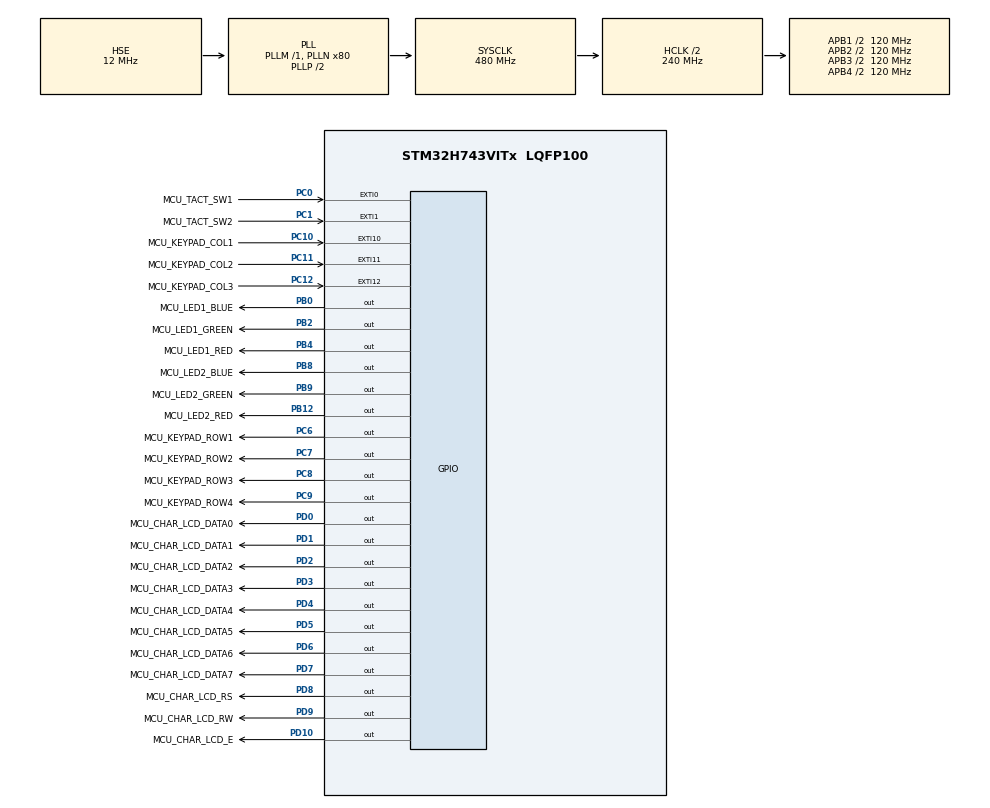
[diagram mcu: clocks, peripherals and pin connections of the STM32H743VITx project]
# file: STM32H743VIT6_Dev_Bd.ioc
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Mcu.Family=STM32H7
Mcu.Name=STM32H743VITx
Mcu.Package=LQFP100
NVIC.EXTI0_IRQn=true\:0\:0\:false\:false\:true\:true\:true\:true
NVIC.EXTI15_10_IRQn=true\:0\:0\:false\:false\:true\:true\:true\:true
NVIC.EXTI1_IRQn=true\:0\:0\:false\:false\:true\:true\:true\:true
NVIC.PriorityGroup=NVIC_PRIORITYGROUP_4
NVIC.TIM6_DAC_IRQn=true\:0\:0\:false\:false\:true\:true\:true\:true
PA13\ (JTMS/SWDIO).Mode=Serial_Wire
PA13\ (JTMS/SWDIO).Signal=DEBUG_JTMS-SWDIO
PA14\ (JTCK/SWCLK).Mode=Serial_Wire
PA14\ (JTCK/SWCLK).Signal=DEBUG_JTCK-SWCLK
PB0.GPIO_Label=MCU_LED1_BLUE
PB0.PinState=GPIO_PIN_SET
PB0.Signal=GPIO_Output
PB12.GPIO_Label=MCU_LED2_RED
PB12.PinState=GPIO_PIN_SET
PB12.Signal=GPIO_Output
PB2.GPIO_Label=MCU_LED1_GREEN
PB2.PinState=GPIO_PIN_SET
PB2.Signal=GPIO_Output
PB4\ (NJTRST).GPIO_Label=MCU_LED1_RED
PB4\ (NJTRST).PinState=GPIO_PIN_SET
PB4\ (NJTRST).Signal=GPIO_Output
PB8.GPIO_Label=MCU_LED2_BLUE
PB8.PinState=GPIO_PIN_SET
PB8.Signal=GPIO_Output
PB9.GPIO_Label=MCU_LED2_GREEN
PB9.PinState=GPIO_PIN_SET
PB9.Signal=GPIO_Output
PC0.GPIO_Label=MCU_TACT_SW1
PC0.GPIO_ModeDefaultEXTI=GPIO_MODE_IT_FALLING
PC0.GPIO_PuPd=GPIO_NOPULL
PC0.Signal=GPXTI0
PC1.GPIO_Label=MCU_TACT_SW2
PC1.GPIO_ModeDefaultEXTI=GPIO_MODE_IT_FALLING
PC1.GPIO_PuPd=GPIO_NOPULL
PC1.Signal=GPXTI1
PC10.GPIO_Label=MCU_KEYPAD_COL1
PC10.GPIO_ModeDefaultEXTI=GPIO_MODE_IT_FALLING
PC10.GPIO_PuPd=GPIO_PULLUP
PC10.Signal=GPXTI10
PC11.GPIO_Label=MCU_KEYPAD_COL2
PC11.GPIO_ModeDefaultEXTI=GPIO_MODE_IT_FALLING
PC11.GPIO_PuPd=GPIO_PULLUP
PC11.Signal=GPXTI11
PC12.GPIO_Label=MCU_KEYPAD_COL3
PC12.GPIO_ModeDefaultEXTI=GPIO_MODE_IT_FALLING
PC12.GPIO_PuPd=GPIO_PULLUP
PC12.Signal=GPXTI12
PC14-OSC32_IN\ (OSC32_IN).Mode=LSE-External-Clock-Source
PC14-OSC32_IN\ (OSC32_IN).Signal=RCC_OSC32_IN
PC6.GPIO_Label=MCU_KEYPAD_ROW1
PC6.PinState=GPIO_PIN_SET
PC6.Signal=GPIO_Output
PC7.GPIO_Label=MCU_KEYPAD_ROW2
PC7.PinState=GPIO_PIN_SET
PC7.Signal=GPIO_Output
PC8.GPIO_Label=MCU_KEYPAD_ROW3
PC8.PinState=GPIO_PIN_SET
PC8.Signal=GPIO_Output
PC9.GPIO_Label=MCU_KEYPAD_ROW4
PC9.PinState=GPIO_PIN_SET
PC9.Signal=GPIO_Output
PD0.GPIO_Label=MCU_CHAR_LCD_DATA0
PD0.Signal=GPIO_Output
PD1.GPIO_Label=MCU_CHAR_LCD_DATA1
PD1.Signal=GPIO_Output
PD10.GPIO_Label=MCU_CHAR_LCD_E
PD10.Signal=GPIO_Output
PD2.GPIO_Label=MCU_CHAR_LCD_DATA2
PD2.Signal=GPIO_Output
PD3.GPIO_Label=MCU_CHAR_LCD_DATA3
PD3.Signal=GPIO_Output
PD4.GPIO_Label=MCU_CHAR_LCD_DATA4
PD4.Signal=GPIO_Output
PD5.GPIO_Label=MCU_CHAR_LCD_DATA5
PD5.Signal=GPIO_Output
PD6.GPIO_Label=MCU_CHAR_LCD_DATA6
PD6.Signal=GPIO_Output
PD7.GPIO_Label=MCU_CHAR_LCD_DATA7
PD7.Signal=GPIO_Output
PD8.GPIO_Label=MCU_CHAR_LCD_RS
PD8.Signal=GPIO_Output
PD9.GPIO_Label=MCU_CHAR_LCD_RW
PD9.Signal=GPIO_Output
PH0-OSC_IN\ (PH0).Mode=HSE-External-Clock-Source
PH0-OSC_IN\ (PH0).Signal=RCC_OSC_IN
ProjectManager.HeapSize=0x200
ProjectManager.StackSize=0x400
ProjectManager.TargetToolchain=STM32CubeIDE
RCC.ADCFreq_Value=24187500
RCC.APB1Freq_Value=120000000
RCC.APB2Freq_Value=120000000
RCC.APB3Freq_Value=120000000
RCC.APB4Freq_Value=120000000
RCC.CortexFreq_Value=480000000
RCC.D1PPRE=RCC_APB3_DIV2
RCC.D2PPRE1=RCC_APB1_DIV2
RCC.D2PPRE2=RCC_APB2_DIV2
RCC.D3PPRE=RCC_APB4_DIV2
RCC.DIVM1=1
RCC.DIVN1=80
RCC.HCLKFreq_Value=240000000
RCC.HPRE=RCC_HCLK_DIV2
RCC.HSE_VALUE=12000000
RCC.PLLFRACN=0
RCC.PLLSourceVirtual=RCC_PLLSOURCE_HSE
RCC.SYSCLKFreq_VALUE=480000000
RCC.SYSCLKSource=RCC_SYSCLKSOURCE_PLLCLK
RCC.USBFreq_Value=480000000
TIM1.Period=65535
TIM1.Prescaler=(240-1)
TIM6.Period=(10000-1)
TIM6.Prescaler=(120-1)
VP_TIM1_VS_ClockSourceINT.Mode=Internal
VP_TIM6_VS_ClockSourceINT.Mode=Enable_Timer
board=custom

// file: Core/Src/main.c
/* USER CODE BEGIN Header */
/**
  ******************************************************************************
  * @file           : main.c
  * @brief          : Main program body
  ******************************************************************************
  * @attention
  *
  * Copyright (c) 2024 STMicroelectronics.
  * All rights reserved.
  *
  * This software is licensed under terms that can be found in the LICENSE file
  * in the root directory of this software component.
  * If no LICENSE file comes with this software, it is provided AS-IS.
  *
  ******************************************************************************
  */
/* USER CODE END Header */
#include "main.h"

TIM_HandleTypeDef htim1;
TIM_HandleTypeDef htim6;

/* USER CODE BEGIN PV */
uint8_t str1[] = "Live like Woong";
uint8_t str2[] = "     by Minjung";

extern uint8_t Keypad_value;
extern uint8_t Keypad_read_enable;
extern uint8_t Keypad_Data[32];
/* USER CODE END PV */

void SystemClock_Config(void);
static void MX_GPIO_Init(void);
static void MX_TIM1_Init(void);
static void MX_TIM6_Init(void);
/* USER CODE BEGIN PFP */
void Delay_us(uint16_t time_us);
/* USER CODE END PFP */

int main(void)
{

  /* MCU Configuration--------------------------------------------------------*/

  /* Reset of all peripherals, Initializes the Flash interface and the Systick. */
  HAL_Init();

  /* Configure the system clock */
  SystemClock_Config();

  /* Initialize all configured peripherals */
  MX_GPIO_Init();
  MX_TIM1_Init();
  MX_TIM6_Init();
  /* USER CODE BEGIN 2 */
	HAL_TIM_Base_Start(&htim1);
	HAL_TIM_Base_Start_IT(&htim6);

	HAL_GPIO_WritePin(MCU_KEYPAD_ROW1_GPIO_Port, MCU_KEYPAD_ROW1_Pin, LOW);

	HAL_Delay(10);
	Initialize_LCD();
	HAL_Delay(100);

	memset(Keypad_Data, 0x20, sizeof(Keypad_Data));

  /* USER CODE END 2 */

  /* Infinite loop */
  while (1)
  {

    /* USER CODE BEGIN 3 */
//	LCD_String(0x80, str1);
//	HAL_Delay(10);
//	LCD_String(0xC0, str2);
//	HAL_Delay(200);

//	LCD_Cursor(1,1);
//	LCD_Data(Keypad_value);
//	HAL_Delay(100);

	  for(int i = 0; i < 32; i++)
	  {
		  if(i < 16)
		  {
			  LCD_Cursor(1,i+1);
			  LCD_Data(Keypad_Data[i]);
			  HAL_Delay(1);
		  }
		  else
		  {
			  LCD_Cursor(2,i-15);
			  LCD_Data(Keypad_Data[i]);
			  HAL_Delay(1);
		  }
	  }

	  HAL_Delay(10);
  }
  /* USER CODE END 3 */
}

void SystemClock_Config(void)
{
  RCC_OscInitTypeDef RCC_OscInitStruct = {0};
  RCC_ClkInitTypeDef RCC_ClkInitStruct = {0};

  /** Supply configuration update enable
  */
  HAL_PWREx_ConfigSupply(PWR_LDO_SUPPLY);

  /** Configure the main internal regulator output voltage
  */
  __HAL_PWR_VOLTAGESCALING_CONFIG(PWR_REGULATOR_VOLTAGE_SCALE1);

  while(!__HAL_PWR_GET_FLAG(PWR_FLAG_VOSRDY)) {}

  __HAL_RCC_SYSCFG_CLK_ENABLE();
  __HAL_PWR_VOLTAGESCALING_CONFIG(PWR_REGULATOR_VOLTAGE_SCALE0);

  while(!__HAL_PWR_GET_FLAG(PWR_FLAG_VOSRDY)) {}

  /** Initializes the RCC Oscillators according to the specified parameters
  * in the RCC_OscInitTypeDef structure.
  */
  RCC_OscInitStruct.OscillatorType = RCC_OSCILLATORTYPE_HSE;
  RCC_OscInitStruct.HSEState = RCC_HSE_BYPASS;
  RCC_OscInitStruct.PLL.PLLState = RCC_PLL_ON;
  RCC_OscInitStruct.PLL.PLLSource = RCC_PLLSOURCE_HSE;
  RCC_OscInitStruct.PLL.PLLM = 1;
  RCC_OscInitStruct.PLL.PLLN = 80;
  RCC_OscInitStruct.PLL.PLLP = 2;
  RCC_OscInitStruct.PLL.PLLQ = 2;
  RCC_OscInitStruct.PLL.PLLR = 2;
  RCC_OscInitStruct.PLL.PLLRGE = RCC_PLL1VCIRANGE_3;
  RCC_OscInitStruct.PLL.PLLVCOSEL = RCC_PLL1VCOWIDE;
  RCC_OscInitStruct.PLL.PLLFRACN = 0;
  if (HAL_RCC_OscConfig(&RCC_OscInitStruct) != HAL_OK)
  {
    Error_Handler();
  }

  /** Initializes the CPU, AHB and APB buses clocks
  */
  RCC_ClkInitStruct.ClockType = RCC_CLOCKTYPE_HCLK|RCC_CLOCKTYPE_SYSCLK
                              |RCC_CLOCKTYPE_PCLK1|RCC_CLOCKTYPE_PCLK2
                              |RCC_CLOCKTYPE_D3PCLK1|RCC_CLOCKTYPE_D1PCLK1;
  RCC_ClkInitStruct.SYSCLKSource = RCC_SYSCLKSOURCE_PLLCLK;
  RCC_ClkInitStruct.SYSCLKDivider = RCC_SYSCLK_DIV1;
  RCC_ClkInitStruct.AHBCLKDivider = RCC_HCLK_DIV2;
  RCC_ClkInitStruct.APB3CLKDivider = RCC_APB3_DIV2;
  RCC_ClkInitStruct.APB1CLKDivider = RCC_APB1_DIV2;
  RCC_ClkInitStruct.APB2CLKDivider = RCC_APB2_DIV2;
  RCC_ClkInitStruct.APB4CLKDivider = RCC_APB4_DIV2;

  if (HAL_RCC_ClockConfig(&RCC_ClkInitStruct, FLASH_LATENCY_4) != HAL_OK)
  {
    Error_Handler();
  }
}

static void MX_TIM1_Init(void)
{

  TIM_ClockConfigTypeDef sClockSourceConfig = {0};
  TIM_MasterConfigTypeDef sMasterConfig = {0};

  htim1.Instance = TIM1;
  htim1.Init.Prescaler = (240-1);
  htim1.Init.CounterMode = TIM_COUNTERMODE_UP;
  htim1.Init.Period = 65535;
  htim1.Init.ClockDivision = TIM_CLOCKDIVISION_DIV1;
  htim1.Init.RepetitionCounter = 0;
  htim1.Init.AutoReloadPreload = TIM_AUTORELOAD_PRELOAD_DISABLE;
  if (HAL_TIM_Base_Init(&htim1) != HAL_OK)
  {
    Error_Handler();
  }
  sClockSourceConfig.ClockSource = TIM_CLOCKSOURCE_INTERNAL;
  if (HAL_TIM_ConfigClockSource(&htim1, &sClockSourceConfig) != HAL_OK)
  {
    Error_Handler();
  }
  sMasterConfig.MasterOutputTrigger = TIM_TRGO_RESET;
  sMasterConfig.MasterOutputTrigger2 = TIM_TRGO2_RESET;
  sMasterConfig.MasterSlaveMode = TIM_MASTERSLAVEMODE_DISABLE;
  if (HAL_TIMEx_MasterConfigSynchronization(&htim1, &sMasterConfig) != HAL_OK)
  {
    Error_Handler();
  }

}

static void MX_TIM6_Init(void)
{

  TIM_MasterConfigTypeDef sMasterConfig = {0};

  htim6.Instance = TIM6;
  htim6.Init.Prescaler = (120-1);
  htim6.Init.CounterMode = TIM_COUNTERMODE_UP;
  htim6.Init.Period = (10000-1);
  htim6.Init.AutoReloadPreload = TIM_AUTORELOAD_PRELOAD_DISABLE;
  if (HAL_TIM_Base_Init(&htim6) != HAL_OK)
  {
    Error_Handler();
  }
  sMasterConfig.MasterOutputTrigger = TIM_TRGO_RESET;
  sMasterConfig.MasterSlaveMode = TIM_MASTERSLAVEMODE_DISABLE;
  if (HAL_TIMEx_MasterConfigSynchronization(&htim6, &sMasterConfig) != HAL_OK)
  {
    Error_Handler();
  }

}

static void MX_GPIO_Init(void)
{
  GPIO_InitTypeDef GPIO_InitStruct = {0};

  /* GPIO Ports Clock Enable */
  __HAL_RCC_GPIOC_CLK_ENABLE();
  __HAL_RCC_GPIOH_CLK_ENABLE();
  __HAL_RCC_GPIOB_CLK_ENABLE();
  __HAL_RCC_GPIOD_CLK_ENABLE();
  __HAL_RCC_GPIOA_CLK_ENABLE();

  /*Configure GPIO pin Output Level */
  HAL_GPIO_WritePin(GPIOB, MCU_LED1_BLUE_Pin|MCU_LED1_GREEN_Pin|MCU_LED2_RED_Pin|MCU_LED1_RED_Pin
                          |MCU_LED2_BLUE_Pin|MCU_LED2_GREEN_Pin, GPIO_PIN_SET);

  /*Configure GPIO pin Output Level */
  HAL_GPIO_WritePin(GPIOD, MCU_CHAR_LCD_RS_Pin|MCU_CHAR_LCD_RW_Pin|MCU_CHAR_LCD_E_Pin|MCU_CHAR_LCD_DATA0_Pin
                          |MCU_CHAR_LCD_DATA1_Pin|MCU_CHAR_LCD_DATA2_Pin|MCU_CHAR_LCD_DATA3_Pin|MCU_CHAR_LCD_DATA4_Pin
                          |MCU_CHAR_LCD_DATA5_Pin|MCU_CHAR_LCD_DATA6_Pin|MCU_CHAR_LCD_DATA7_Pin, GPIO_PIN_RESET);

  /*Configure GPIO pin Output Level */
  HAL_GPIO_WritePin(GPIOC, MCU_KEYPAD_ROW1_Pin|MCU_KEYPAD_ROW2_Pin|MCU_KEYPAD_ROW3_Pin|MCU_KEYPAD_ROW4_Pin, GPIO_PIN_SET);

  /*Configure GPIO pins : MCU_TACT_SW1_Pin MCU_TACT_SW2_Pin */
  GPIO_InitStruct.Pin = MCU_TACT_SW1_Pin|MCU_TACT_SW2_Pin;
  GPIO_InitStruct.Mode = GPIO_MODE_IT_FALLING;
  GPIO_InitStruct.Pull = GPIO_NOPULL;
  HAL_GPIO_Init(GPIOC, &GPIO_InitStruct);

  /*Configure GPIO pins : MCU_LED1_BLUE_Pin MCU_LED1_GREEN_Pin MCU_LED2_RED_Pin MCU_LED1_RED_Pin
                           MCU_LED2_BLUE_Pin MCU_LED2_GREEN_Pin */
  GPIO_InitStruct.Pin = MCU_LED1_BLUE_Pin|MCU_LED1_GREEN_Pin|MCU_LED2_RED_Pin|MCU_LED1_RED_Pin
                          |MCU_LED2_BLUE_Pin|MCU_LED2_GREEN_Pin;
  GPIO_InitStruct.Mode = GPIO_MODE_OUTPUT_PP;
  GPIO_InitStruct.Pull = GPIO_NOPULL;
  GPIO_InitStruct.Speed = GPIO_SPEED_FREQ_LOW;
  HAL_GPIO_Init(GPIOB, &GPIO_InitStruct);

  /*Configure GPIO pins : MCU_CHAR_LCD_RS_Pin MCU_CHAR_LCD_RW_Pin MCU_CHAR_LCD_E_Pin MCU_CHAR_LCD_DATA0_Pin
                           MCU_CHAR_LCD_DATA1_Pin MCU_CHAR_LCD_DATA2_Pin MCU_CHAR_LCD_DATA3_Pin MCU_CHAR_LCD_DATA4_Pin
                           MCU_CHAR_LCD_DATA5_Pin MCU_CHAR_LCD_DATA6_Pin MCU_CHAR_LCD_DATA7_Pin */
  GPIO_InitStruct.Pin = MCU_CHAR_LCD_RS_Pin|MCU_CHAR_LCD_RW_Pin|MCU_CHAR_LCD_E_Pin|MCU_CHAR_LCD_DATA0_Pin
                          |MCU_CHAR_LCD_DATA1_Pin|MCU_CHAR_LCD_DATA2_Pin|MCU_CHAR_LCD_DATA3_Pin|MCU_CHAR_LCD_DATA4_Pin
                          |MCU_CHAR_LCD_DATA5_Pin|MCU_CHAR_LCD_DATA6_Pin|MCU_CHAR_LCD_DATA7_Pin;
  GPIO_InitStruct.Mode = GPIO_MODE_OUTPUT_PP;
  GPIO_InitStruct.Pull = GPIO_NOPULL;
  GPIO_InitStruct.Speed = GPIO_SPEED_FREQ_LOW;
  HAL_GPIO_Init(GPIOD, &GPIO_InitStruct);

  /*Configure GPIO pins : MCU_KEYPAD_ROW1_Pin MCU_KEYPAD_ROW2_Pin MCU_KEYPAD_ROW3_Pin MCU_KEYPAD_ROW4_Pin */
  GPIO_InitStruct.Pin = MCU_KEYPAD_ROW1_Pin|MCU_KEYPAD_ROW2_Pin|MCU_KEYPAD_ROW3_Pin|MCU_KEYPAD_ROW4_Pin;
  GPIO_InitStruct.Mode = GPIO_MODE_OUTPUT_PP;
  GPIO_InitStruct.Pull = GPIO_NOPULL;
  GPIO_InitStruct.Speed = GPIO_SPEED_FREQ_LOW;
  HAL_GPIO_Init(GPIOC, &GPIO_InitStruct);

  /*Configure GPIO pins : MCU_KEYPAD_COL1_Pin MCU_KEYPAD_COL2_Pin MCU_KEYPAD_COL3_Pin */
  GPIO_InitStruct.Pin = MCU_KEYPAD_COL1_Pin|MCU_KEYPAD_COL2_Pin|MCU_KEYPAD_COL3_Pin;
  GPIO_InitStruct.Mode = GPIO_MODE_IT_FALLING;
  GPIO_InitStruct.Pull = GPIO_PULLUP;
  HAL_GPIO_Init(GPIOC, &GPIO_InitStruct);

  /* EXTI interrupt init*/
  HAL_NVIC_SetPriority(EXTI0_IRQn, 0, 0);
  HAL_NVIC_EnableIRQ(EXTI0_IRQn);

  HAL_NVIC_SetPriority(EXTI1_IRQn, 0, 0);
  HAL_NVIC_EnableIRQ(EXTI1_IRQn);

  HAL_NVIC_SetPriority(EXTI15_10_IRQn, 0, 0);
  HAL_NVIC_EnableIRQ(EXTI15_10_IRQn);

}

/* USER CODE BEGIN 4 */
void Delay_us(uint16_t time_us)
{
	__HAL_TIM_SET_COUNTER(&htim1, 0);
	while((__HAL_TIM_GET_COUNTER(&htim1))<time_us);
}

/* USER CODE END 4 */

void Error_Handler(void)
{
  __disable_irq();
  while (1)
  {
  }
}
